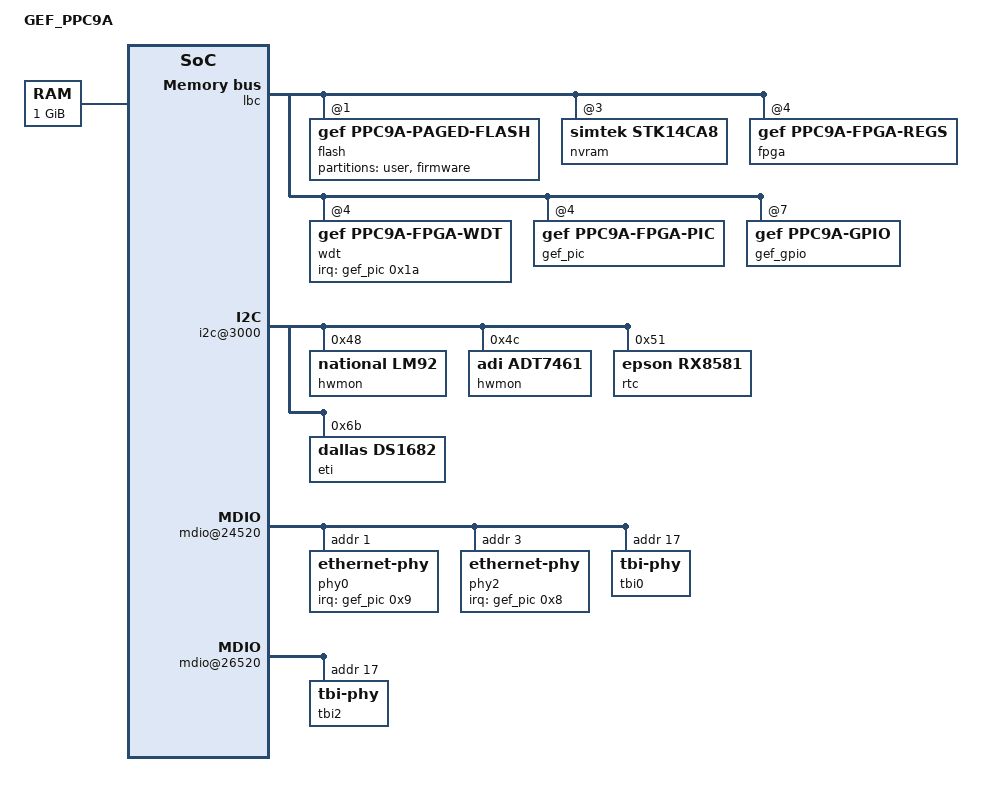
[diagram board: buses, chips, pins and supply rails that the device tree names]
/*
 * GE PPC9A Device Tree Source
 *
 * Copyright 2008 GE Intelligent Platforms Embedded Systems, Inc.
 *
 * This program is free software; you can redistribute  it and/or modify it
 * under  the terms of  the GNU General  Public License as published by the
 * Free Software Foundation;  either version 2 of the  License, or (at your
 * option) any later version.
 *
 * Based on: SBS CM6 Device Tree Source
 * Copyright 2007 SBS Technologies GmbH & Co. KG
 * And: mpc8641_hpcn.dts (MPC8641 HPCN Device Tree Source)
 * Copyright 2006 Freescale Semiconductor Inc.
 */

/*
 * Compiled with dtc -I dts -O dtb -o gef_ppc9a.dtb gef_ppc9a.dts
 */

/include/ "mpc8641si-pre.dtsi"

/ {
	model = "GEF_PPC9A";
	compatible = "gef,ppc9a";

	memory {
		device_type = "memory";
		reg = <0x0 0x40000000>;	// set by uboot
	};

	lbc: localbus@fef05000 {
		reg = <0xfef05000 0x1000>;

		ranges = <0 0 0xff000000 0x01000000	// 16MB Boot flash
			  1 0 0xe8000000 0x08000000	// Paged Flash 0
			  2 0 0xe0000000 0x08000000	// Paged Flash 1
			  3 0 0xfc100000 0x00020000	// NVRAM
			  4 0 0xfc000000 0x00008000	// FPGA
			  5 0 0xfc008000 0x00008000	// AFIX FPGA
			  6 0 0xfd000000 0x00800000	// IO FPGA (8-bit)
			  7 0 0xfd800000 0x00800000>;	// IO FPGA (32-bit)

		/* flash@0,0 is a mirror of part of the memory in flash@1,0
		flash@0,0 {
			compatible = "gef,ppc9a-firmware-mirror", "cfi-flash";
			reg = <0x0 0x0 0x1000000>;
			bank-width = <4>;
			device-width = <2>;
			#address-cells = <1>;
			#size-cells = <1>;
			partition@0 {
				label = "firmware";
				reg = <0x0 0x1000000>;
				read-only;
			};
		};
		*/

		flash@1,0 {
			compatible = "gef,ppc9a-paged-flash", "cfi-flash";
			reg = <0x1 0x0 0x8000000>;
			bank-width = <4>;
			device-width = <2>;
			#address-cells = <1>;
			#size-cells = <1>;
			partition@0 {
				label = "user";
				reg = <0x0 0x7800000>;
			};
			partition@7800000 {
				label = "firmware";
				reg = <0x7800000 0x800000>;
				read-only;
			};
		};

		nvram@3,0 {
			device_type = "nvram";
			compatible = "simtek,stk14ca8";
			reg = <0x3 0x0 0x20000>;
		};

		fpga@4,0 {
			compatible = "gef,ppc9a-fpga-regs";
			reg = <0x4 0x0 0x40>;
		};

		wdt@4,2000 {
			compatible = "gef,ppc9a-fpga-wdt", "gef,fpga-wdt-1.00",
				"gef,fpga-wdt";
			reg = <0x4 0x2000 0x8>;
			interrupts = <0x1a 0x4>;
			interrupt-parent = <&gef_pic>;
		};
		/* Second watchdog available, driver currently supports one.
		wdt@4,2010 {
			compatible = "gef,ppc9a-fpga-wdt", "gef,fpga-wdt-1.00",
				"gef,fpga-wdt";
			reg = <0x4 0x2010 0x8>;
			interrupts = <0x1b 0x4>;
			interrupt-parent = <&gef_pic>;
		};
		*/
		gef_pic: pic@4,4000 {
			#interrupt-cells = <1>;
			interrupt-controller;
			compatible = "gef,ppc9a-fpga-pic", "gef,fpga-pic-1.00";
			reg = <0x4 0x4000 0x20>;
			interrupts = <0x8 0x9 0 0>;

		};
		gef_gpio: gpio@7,14000 {
			#gpio-cells = <2>;
			compatible = "gef,ppc9a-gpio", "gef,sbc610-gpio";
			reg = <0x7 0x14000 0x24>;
			gpio-controller;
		};
	};

	soc: soc@fef00000 {
		ranges = <0x0 0xfef00000 0x00100000>;

		i2c@3000 {
			hwmon@48 {
				compatible = "national,lm92";
				reg = <0x48>;
			};

			hwmon@4c {
				compatible = "adi,adt7461";
				reg = <0x4c>;
			};

			rtc@51 {
				compatible = "epson,rx8581";
				reg = <0x00000051>;
			};

			eti@6b {
				compatible = "dallas,ds1682";
				reg = <0x6b>;
			};
		};

		enet0: ethernet@24000 {
			tbi-handle = <&tbi0>;
			phy-handle = <&phy0>;
			phy-connection-type = "gmii";
		};

		mdio@24520 {
			phy0: ethernet-phy@0 {
				interrupt-parent = <&gef_pic>;
				interrupts = <0x9 0x4>;
				reg = <1>;
			};
			phy2: ethernet-phy@2 {
				interrupt-parent = <&gef_pic>;
				interrupts = <0x8 0x4>;
				reg = <3>;
			};
			tbi0: tbi-phy@11 {
				reg = <0x11>;
				device_type = "tbi-phy";
			};
		};

		enet1: ethernet@26000 {
			tbi-handle = <&tbi2>;
			phy-handle = <&phy2>;
			phy-connection-type = "gmii";
		};

		mdio@26520 {
			tbi2: tbi-phy@11 {
				reg = <0x11>;
				device_type = "tbi-phy";
			};
		};

		enet2: ethernet@25000 {
			status = "disabled";
		};

		mdio@25520 {
			status = "disabled";
		};

		enet3: ethernet@27000 {
			status = "disabled";
		};

		mdio@27520 {
			status = "disabled";
		};
	};

	pci0: pcie@fef08000 {
		reg = <0xfef08000 0x1000>;
		ranges = <0x02000000 0x0 0x80000000 0x80000000 0x0 0x40000000
			  0x01000000 0x0 0x00000000 0xfe000000 0x0 0x00400000>;

		pcie@0 {
			ranges = <0x02000000 0x0 0x80000000
				  0x02000000 0x0 0x80000000
				  0x0 0x40000000

				  0x01000000 0x0 0x00000000
				  0x01000000 0x0 0x00000000
				  0x0 0x00400000>;
		};
	};
};

/include/ "mpc8641si-post.dtsi"
